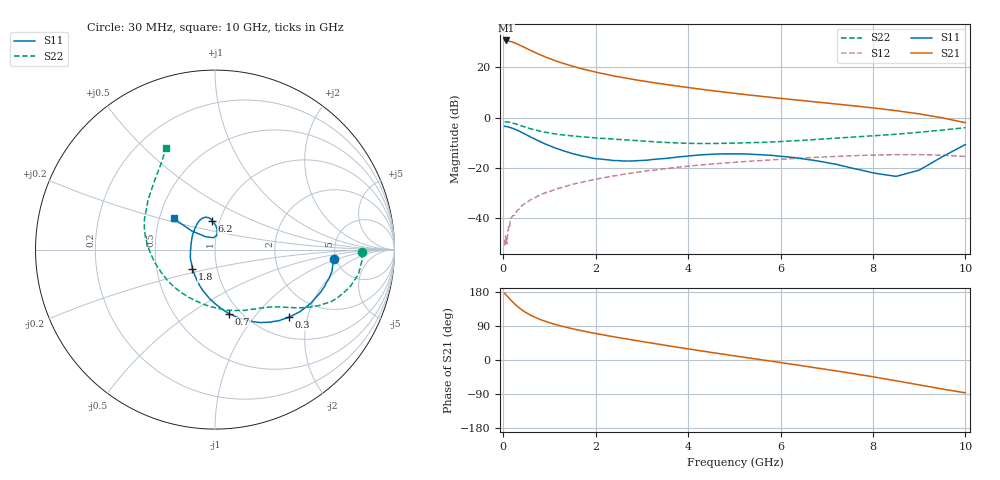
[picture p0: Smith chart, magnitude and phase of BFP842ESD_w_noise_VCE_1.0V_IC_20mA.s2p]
! Infineon Technologies  Discrete & RF Semiconductors
! BFP842ESD
! VCE =  1.0 V,  IC =  20 mA
! Common Emitter S-Parameters:  May 2012
# GHz  S  MA  R  50
!  f  S11  S21  S12  S22
! GHz  MAG  ANG  MAG  ANG  MAG  ANG  MAG  ANG
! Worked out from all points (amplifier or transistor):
!   99 points, 30 MHz to 10 GHz, reference 50 ohm
!   highest |S21| = 30.8 dB at 60 MHz (marker M1)
!   |S21| within 3 dB of that: start of sweep to 484.7 MHz
!   unconditionally stable (mu >= 1): start of sweep to 47.88 MHz; 52.54 MHz to 65.28 MHz; 1.556 GHz to end of sweep (the widest 3 of 4)
!   at 350 MHz: K = 0.60, MSG = 32.7 dB, |S12| = -36.5 dB
!   at 3.5 GHz: K = 1.18, MAG = 14.3 dB, |S12| = -20.4 dB
!   at 10 GHz: K = 2.10, MAG = 0.8 dB, |S12| = -15.6 dB
!   lowest NFmin = 0.81 dB at 450 MHz
!   S11 on the Smith chart (normalised r, x): 30 MHz: 4.82, -0.91; 300 MHz: 1.41, -1.55; 700 MHz: 0.89, -0.73; 1.8 GHz: 0.76, -0.17; 6.2 GHz: 0.92, +0.30; 10 GHz: 0.59, +0.22
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0.03  0.6666 -4.5  34.08 176.4  0.0036 42.4  0.8188 -1.1
0.06  0.6623 -9.3  34.61 172.0  0.0033 49.4  0.8208 -3.9
0.11  0.6465 -16.8  33.95 165.0  0.0056 69.4  0.8123 -8.3
0.2  0.6112 -29.4  32.05 153.7  0.0108 64.3  0.7794 -15.6
0.25  0.5868 -36.0  30.95 147.7  0.0113 73.1  0.7554 -18.6
0.3  0.559 -42.4  29.47 142.2  0.0139 72.6  0.7318 -21.7
0.35  0.532 -48.1  28.1 137.2  0.015 65.8  0.7067 -24.4
0.45  0.4792 -58.0  25.39 128.4  0.0187 66.8  0.6569 -28.4
0.6  0.4055 -70.5  21.73 117.9  0.023 63.0  0.594 -33.0
0.7  0.3655 -77.6  19.67 112.1  0.0255 61.0  0.5624 -35.2
0.9  0.2988 -90.4  16.39 102.5  0.0311 60.1  0.5112 -39.0
1.1  0.2513 -102.1  13.94 94.8  0.036 58.9  0.4747 -42.3
1.4  0.2033 -118.4  11.3 85.3  0.0437 55.9  0.4385 -47.0
1.7  0.1707 -134.8  9.442 77.3  0.0511 53.4  0.4122 -52.2
1.8  0.1649 -139.5  8.961 74.8  0.0538 52.7  0.4064 -53.9
2.5  0.1378 -176.0  6.493 59.0  0.0704 45.2  0.3651 -68.0
3.4  0.1497 145.7  4.746 41.0  0.0927 35.0  0.3222 -90.8
5.1  0.1885 107.5  2.977 9.2  0.1295 12.4  0.3094 -140.6
6.2  0.1617 95.3  2.312 -10.4  0.15 -3.0  0.3402 -166.5
6.7  0.1405 89.8  2.077 -19.5  0.1593 -10.7  0.3615 -177.6
8.5  0.0668 98.6  1.372 -54.8  0.1814 -43.3  0.4642 143.5
10  0.2891 143.1  0.788 -86.7  0.1667 -77.5  0.6273 115.7
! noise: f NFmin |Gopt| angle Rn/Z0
0.45  0.81  0.05  -152  0.09
0.9  0.81  0.07  -145  0.09
1.5  0.82  0.09  -141  0.08
1.9  0.82  0.11  -135  0.08
2.4  0.83  0.13  -132  0.08
3.5  0.88  0.16  -118  0.09
4  0.91  0.17  -115  0.1
5  0.98  0.18  -104  0.11
5.5  1.09  0.19  -101  0.12
6  1.19  0.2  -98  0.13
